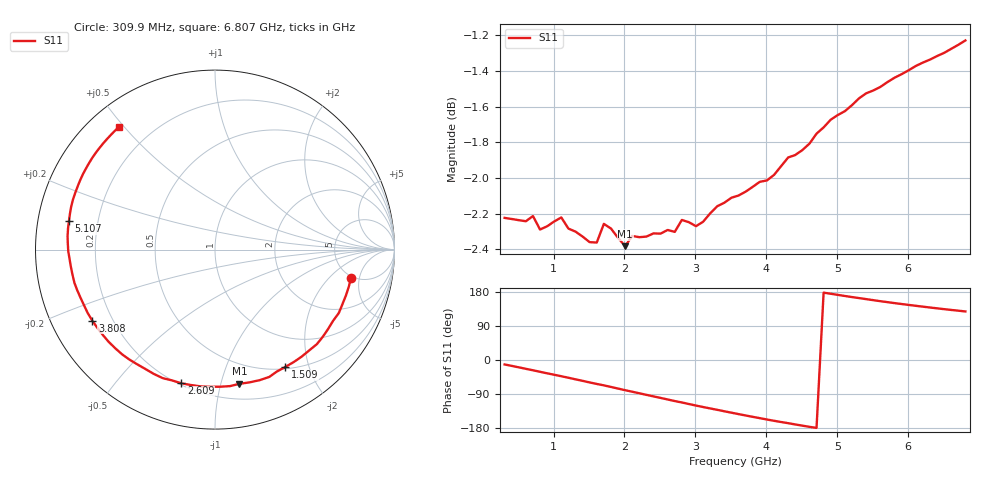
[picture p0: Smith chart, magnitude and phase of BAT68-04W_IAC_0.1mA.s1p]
! Infineon Technologies  Discrete & RF Semiconductors
! BAT68-04W
! IAC = 0.1 mA
! One-Port S-Parameters
# Hz  S  MA  R  50
!f  S11
!Hz  Mag  Ang
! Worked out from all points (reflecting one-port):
!   66 points, 309.9 MHz to 6.807 GHz, reference 50 ohm
!   lowest |S11| = -2.4 dB at 2.009 GHz (marker M1), VSWR 7.34, Z = 16.2 - j57.3 ohm
!   phase of S11 starts at -12 deg and turns -220 deg over the sweep
!   S11 on the Smith chart (normalised r, x): 309.9 MHz: 4.80, -3.78; 1.509 GHz: 0.52, -1.64; 2.609 GHz: 0.21, -0.76; 3.808 GHz: 0.13, -0.26; 5.107 GHz: 0.09, +0.10; 6.807 GHz: 0.09, +0.48
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3.0985e8  0.7741 -11.8
5.0975e8  0.773 -19.4
7.0965e8  0.7751 -27.1
1.0095e9  0.7723 -38.9
1.2094e9  0.7688 -46.8
1.50925e9  0.7621 -59.2
1.70915e9  0.7711 -66.9
1.8091e9  0.7688 -71.1
2.009e9  0.7601 -79.7
2.10895e9  0.7651 -83.7
2.30885e9  0.7648 -92.0
2.6087e9  0.7681 -104.1
2.8086e9  0.7731 -112.1
3.0085e9  0.77 -120.2
3.30835e9  0.78 -131.5
3.6082e9  0.7854 -142.8
3.8081e9  0.7898 -150.0
4.10795e9  0.7959 -160.4
4.4078e9  0.8062 -170.1
4.70765e9  0.8174 -179.2
4.90755e9  0.8247 174.8
5.10745e9  0.8293 168.9
5.2074e9  0.8325 166.1
5.4073e9  0.8389 160.7
5.6072e9  0.8424 155.2
6.007e9  0.8515 145.4
6.4068e9  0.8593 136.4
6.8066e9  0.868 128.1
